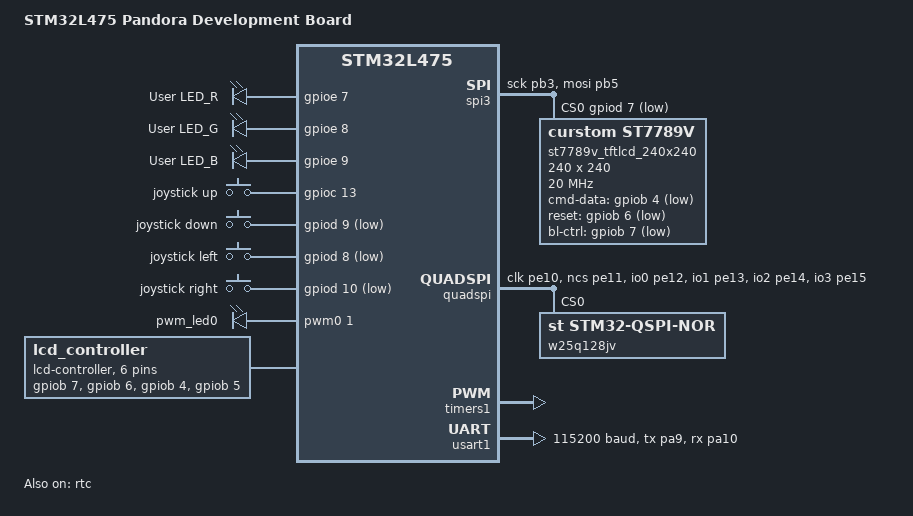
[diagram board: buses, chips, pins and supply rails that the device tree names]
/*
 * Copyright (c) 2017 TsMax
 *
 * Based on stm32l475_pandora:
 *
 * Copyright (c) 2017 Tisilicon Limited
 *
 * SPDX-License-Identifier: Apache-2.0
 */

/dts-v1/;
#include <st/l4/stm32l475Xe.dtsi>
#include <st/l4/stm32l475v(c-e-g)tx-pinctrl.dtsi>

/ {
	model = "STM32L475 Pandora Development Board";
	compatible = "st,pandora_stm32l475";

	aliases {
		led0 = &red_led;
		pwm-led0 = &pwm_led0;
		sw0 = &joy_down;
	};

	chosen {
		zephyr,console = &usart1;
		zephyr,shell-uart = &usart1;
		zephyr,sram = &sram0;
		zephyr,flash = &flash0;
		zephyr,display = &st7789v_tftlcd_240x240;
	};

	leds {
		compatible = "gpio-leds";
		red_led: led_0 {
			gpios = <&gpioe 7 GPIO_ACTIVE_HIGH>;
			label = "User LED_R";
		};
		green_led: led_1 {
			gpios = <&gpioe 8 GPIO_ACTIVE_HIGH>;
			label = "User LED_G";
		};
		blue_led: led_2 {
			gpios = <&gpioe 9 GPIO_ACTIVE_HIGH>;
			label = "User LED_B";
		};
	};

	gpio_keys {
		compatible = "gpio-keys";
		joy_up: joystick_up {
			label = "joystick up";
			gpios = <&gpioc 13 (GPIO_ACTIVE_HIGH | GPIO_PULL_DOWN)>;
		};
		joy_down: joystick_down {
			label = "joystick down";
			gpios = <&gpiod 9 (GPIO_ACTIVE_LOW | GPIO_PULL_UP)>;
		};
		joy_left: joystick_left {
			label = "joystick left";
			gpios = <&gpiod 8 (GPIO_ACTIVE_LOW | GPIO_PULL_UP)>;
		};
		joy_right: joystick_right {
			label = "joystick right";
			gpios = <&gpiod 10 (GPIO_ACTIVE_LOW | GPIO_PULL_UP)>;
		};
	};

	pwmleds {
		compatible = "pwm-leds";
		status = "okay";
		pwm_led0: pwm_led0 {
			pwms = <&pwm0 1 PWM_MSEC(20) PWM_POLARITY_NORMAL>;
		};
	};


	lcd_controller: connector {
		compatible = "lcd-controller";
		#gpio-cells = <2>;
		gpio-map-mask = <0xffffffff 0xffffffc0>;
		gpio-map-pass-thru = <0 0x3f>;
		gpio-map =
			<0 0 &gpiob 7 0>,    /* PB7 LCD_PWR 		*/
			<1 0 &gpiob 6 0>,    /* PB6 LCD_RESET 	*/
			<2 0 &gpiob 4 0>,    /* PB5 LCD_WR		*/
			<3 0 &gpiob 5 0>,    /* PB4 LCD_SPI_SDA	*/
			<4 0 &gpiob 3 0>,    /* PB3 LCD_SPI_CSK	*/
			<5 0 &gpiod 7 0>;    /* PD7 LCD_CS		*/
	};
};

&spi3 {
	status = "okay";
	pinctrl-names = "default";
	pinctrl-0 = <&spi3_sck_pb3 &spi3_mosi_pb5>;
	cs-gpios = <&gpiod 7 GPIO_ACTIVE_LOW>;

	st7789v_tftlcd_240x240: st7789v@0 {
		compatible = "curstom,st7789v";
		spi-max-frequency = <20000000>;
		reg = <0>;
		cmd-data-gpios = <&gpiob 4 GPIO_ACTIVE_LOW>;
		reset-gpios = <&gpiob 6 GPIO_ACTIVE_LOW>;
		bl-ctrl-gpios = <&gpiob 7 (GPIO_ACTIVE_LOW | GPIO_PULL_DOWN)>;
		width = <240>;
		height = <240>;
		x-offset = <0>;
		y-offset = <0>;
		vcom = <0x19>;
		gctrl = <0x35>;
		vrhs = <0x12>;
		vdvs = <0x20>;
		mdac = <0x00>;
		gamma = <0x01>;
		colmod = <0x05>;
		lcm = <0x2c>;
		porch-param = [0c 0c 00 33 33];
		cmd2en-param = [5a 69 02 01];
		pwctrl1-param = [a4 a1];
		pvgam-param = [D0 04 0D 11 13 2B 3F 54 4C 18 0D 0B 1F 23];
		nvgam-param = [D0 04 0C 11 13 2C 3F 44 51 2F 1F 1F 20 23];
		ram-param = [00 F0];
		rgb-param = [CD 08 14];
	};
};

&quadspi {
	pinctrl-0 = <&quadspi_clk_pe10 &quadspi_ncs_pe11
			&quadspi_bk1_io0_pe12 &quadspi_bk1_io1_pe13
			&quadspi_bk1_io2_pe14 &quadspi_bk1_io3_pe15>;
	pinctrl-names = "default";

	status = "okay";
	w25q128jv: qspi-nor-flash@0 {
			compatible = "st,stm32-qspi-nor";
			reg = <0>;
			qspi-max-frequency = <80000000>;
			size = <0x8000000>;
			jedec-id = [ef 40 18];
			spi-bus-width = <4>;
			status = "okay";
	};
};

&timers1 {
	st,prescaler = <10000>;
	status = "okay";

	pwm0: pwm {
		status = "okay";
		pinctrl-0 = <&tim1_ch1_pe9>;
		pinctrl-names = "default";
	};
};

&clk_lsi {
	status = "okay";
};

&clk_hsi {
	status = "okay";
};

&pll {
	div-m = <1>;
	mul-n = <20>;
	div-p = <7>;
	div-q = <2>;
	div-r = <4>;
	clocks = <&clk_hsi>;
	status = "okay";
};

&rcc {
	clocks = <&pll>;
	clock-frequency = <DT_FREQ_M(80)>;
	ahb-prescaler = <1>;
	apb1-prescaler = <1>;
	apb2-prescaler = <1>;
};

&usart1 {
	pinctrl-0 = <&usart1_tx_pa9 &usart1_rx_pa10>;
	pinctrl-names = "default";
	current-speed = <115200>;
	status = "okay";
};

&rtc {
	clocks = <&rcc STM32_CLOCK_BUS_APB1 0x10000000>,
		 <&rcc STM32_SRC_LSI RTC_SEL(2)>;
	status = "okay";

	backup_regs {
		status = "okay";
	};
};
